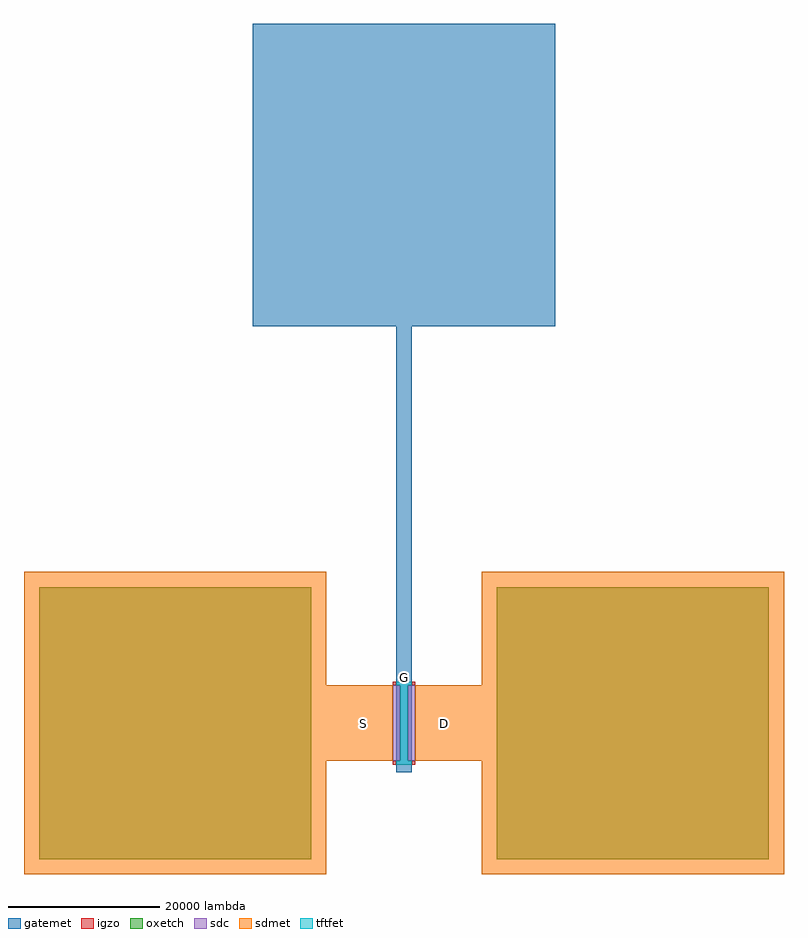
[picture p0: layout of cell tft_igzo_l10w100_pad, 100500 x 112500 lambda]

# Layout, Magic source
magic
tech igzo_mmm_lab
<< igzo >>
rect -1500 5000 -1000 5500
rect 1000 5000 1500 5500
rect -1500 -5500 -1000 -5000
rect 1000 -5500 1500 -5000
<< tftfet >>
rect -1000 5000 1000 5500
rect -500 -5000 500 5000
rect -1000 -5500 1000 -5000
<< sdc >>
rect -1500 -5000 -500 5000
rect 500 -5000 1500 5000
<< sdmet >>
rect -50250 5000 -10250 20000
rect 10250 5000 50250 20000
rect -50250 -5000 -1500 5000
rect 1500 -5000 50250 5000
rect -50250 -20000 -10250 -5000
rect 10250 -20000 50250 -5000
<< gatemet >>
rect -20000 52500 20000 92500
rect -1000 -6500 1000 52500
<< oxetch >>
rect -48250 -18000 -12250 18000
rect 12250 -18000 48250 18000
<< labels >>
rlabel sdmet s -5863 -488 -4887 488 4 S
port 3 nsew
rlabel sdmet s 4887 -488 5863 488 4 D
port 5 nsew
rlabel gatemet s -488 5512 488 6488 4 G
port 7 nsew
<< end >>
